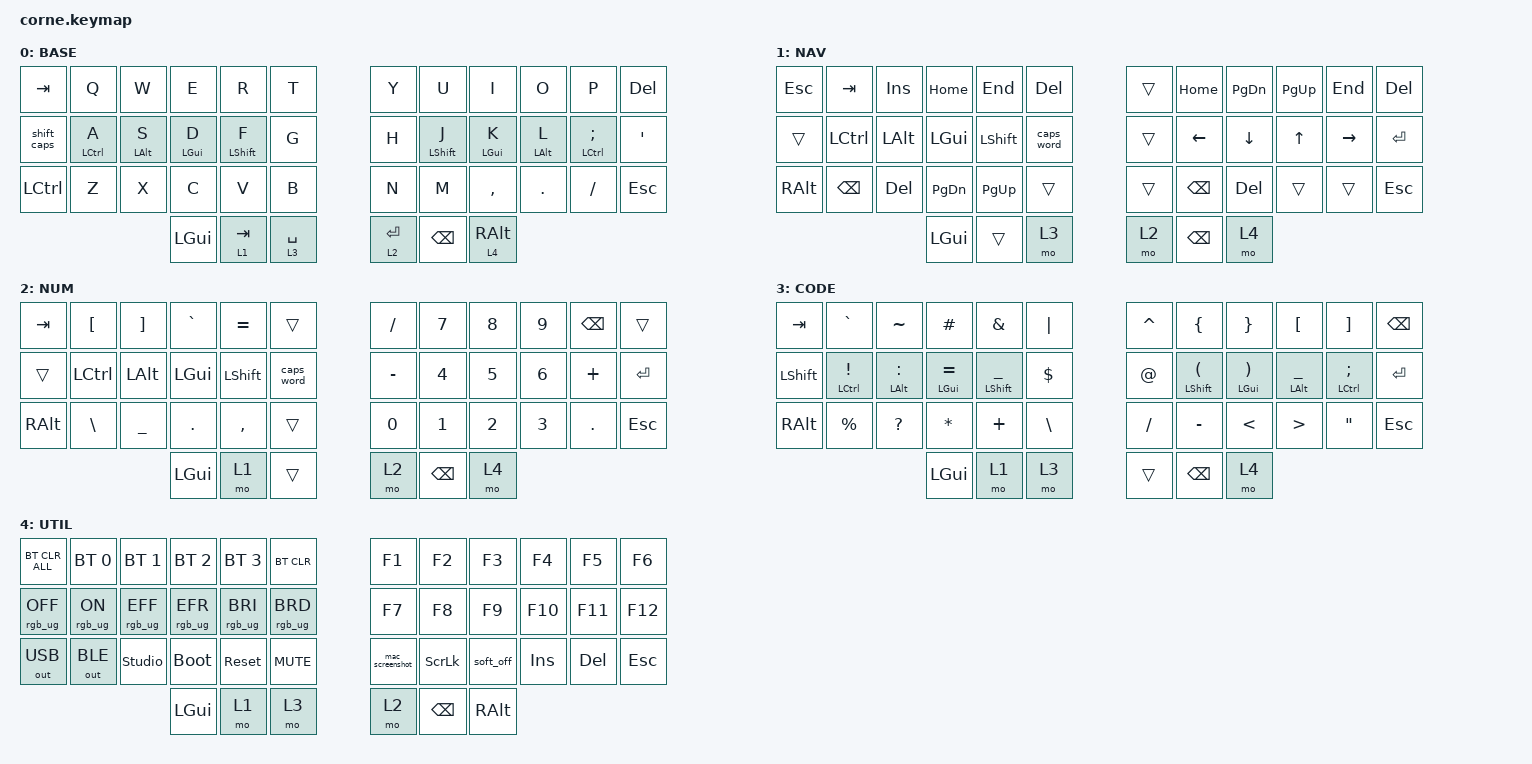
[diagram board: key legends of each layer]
/*
 * Copyright (c) 2020 The ZMK Contributors
 *
 * SPDX-License-Identifier: MIT
 */

#include <behaviors.dtsi>
#include <dt-bindings/zmk/bt.h>
#include <dt-bindings/zmk/keys.h>
#include <dt-bindings/zmk/outputs.h>
#include <dt-bindings/zmk/rgb.h>

/ {
    behaviors {
        shift_caps: shift_caps {
            compatible = "zmk,behavior-tap-dance";
            display-name = "Shift / Caps Lock";
            #binding-cells = <0>;
            bindings = <&kp LEFT_SHIFT>, <&kp CAPS>;
        };

        hrm_left: hrm_left {
            compatible = "zmk,behavior-hold-tap";
            display-name = "Home Row Mod Left";
            #binding-cells = <2>;
            flavor = "balanced";
            tapping-term-ms = <240>;
            quick-tap-ms = <175>;
            require-prior-idle-ms = <150>;
            bindings = <&kp>, <&kp>;
            hold-trigger-key-positions = <6 7 8 9 10 11 18 19 20 21 22 23 30 31 32 33 34 35 39 40 41>;
            hold-trigger-on-release;
        };

        hrm_right: hrm_right {
            compatible = "zmk,behavior-hold-tap";
            display-name = "Home Row Mod Right";
            #binding-cells = <2>;
            flavor = "balanced";
            tapping-term-ms = <240>;
            quick-tap-ms = <175>;
            require-prior-idle-ms = <150>;
            bindings = <&kp>, <&kp>;
            hold-trigger-key-positions = <0 1 2 3 4 5 12 13 14 15 16 17 24 25 26 27 28 29 36 37 38>;
            hold-trigger-on-release;
        };

        th_lt: th_lt {
            compatible = "zmk,behavior-hold-tap";
            display-name = "Thumb Layer Tap";
            #binding-cells = <2>;
            flavor = "tap-preferred";
            tapping-term-ms = <200>;
            quick-tap-ms = <150>;
            require-prior-idle-ms = <120>;
            bindings = <&mo>, <&kp>;
        };
    };

    macros {
        mac_screenshot: mac_screenshot {
            compatible = "zmk,behavior-macro";
            #binding-cells = <0>;
            wait-ms = <30>;
            tap-ms = <30>;
            bindings
                = <&macro_press &kp LGUI>
                , <&macro_press &kp LEFT_SHIFT>
                , <&macro_tap &kp N5>
                , <&macro_release &kp LEFT_SHIFT>
                , <&macro_release &kp LGUI>
                ;
        };
    };

    keymap {
        compatible = "zmk,keymap";

        base_layer {
            display-name = "BASE";
            bindings = <
&kp TAB      &kp Q                  &kp W                 &kp E                  &kp R                   &kp T        &kp Y                    &kp U                       &kp I                     &kp O                    &kp P                    &kp DEL
&shift_caps  &hrm_left LCTRL A      &hrm_left LALT S      &hrm_left LGUI D       &hrm_left LEFT_SHIFT F  &kp G        &kp H                    &hrm_right LEFT_SHIFT J     &hrm_right LGUI K         &hrm_right LALT L        &hrm_right LCTRL SEMI    &kp SQT
&kp LCTRL   &kp Z                  &kp X                 &kp C                  &kp V                   &kp B        &kp N                    &kp M                       &kp COMMA                 &kp DOT                  &kp FSLH                 &kp ESC
                                                          &kp LGUI               &th_lt 1 TAB            &th_lt 3 SPACE   &th_lt 2 ENTER      &kp BSPC                    &th_lt 4 RALT
            >;
        };

        nav_layer {
            display-name = "NAV";
            bindings = <
&kp ESC   &kp TAB    &kp INS   &kp HOME   &kp END        &kp DEL        &trans   &kp HOME   &kp PG_DN   &kp PG_UP   &kp END    &kp DEL
&trans    &kp LCTRL  &kp LALT  &kp LGUI   &kp LEFT_SHIFT &caps_word     &trans   &kp LEFT   &kp DOWN    &kp UP      &kp RIGHT  &kp RET
&kp RALT  &kp BSPC   &kp DEL   &kp PG_DN  &kp PG_UP      &trans         &trans   &kp BSPC   &kp DEL     &trans      &trans     &kp ESC
                               &kp LGUI   &trans          &mo 3          &mo 2    &kp BSPC   &mo 4
            >;
        };

        num_layer {
            display-name = "NUM";
            bindings = <
&kp TAB   &kp LBKT   &kp RBKT   &kp GRAVE   &kp EQUAL   &trans       &kp FSLH   &kp N7   &kp N8   &kp N9   &kp BSPC   &trans
&trans    &kp LCTRL  &kp LALT   &kp LGUI    &kp LEFT_SHIFT &caps_word &kp MINUS  &kp N4   &kp N5   &kp N6   &kp PLUS   &kp RET
&kp RALT  &kp BSLH   &kp UNDER  &kp DOT     &kp COMMA   &trans       &kp N0     &kp N1   &kp N2   &kp N3   &kp DOT    &kp ESC
                                &kp LGUI    &mo 1       &trans        &mo 2      &kp BSPC &mo 4
            >;
        };

        code_layer {
            display-name = "CODE";
            bindings = <
&kp TAB        &kp GRAVE                  &kp TILDE                 &kp HASH                   &kp AMPS                    &kp PIPE     &kp CARET   &kp LBRC                    &kp RBRC                  &kp LBKT                  &kp RBKT                   &kp BSPC
&kp LEFT_SHIFT &hrm_left LCTRL EXCL       &hrm_left LALT COLON      &hrm_left LGUI EQUAL       &hrm_left LEFT_SHIFT UNDER  &kp DLLR     &kp AT      &hrm_right LEFT_SHIFT LPAR  &hrm_right LGUI RPAR      &hrm_right LALT UNDER     &hrm_right LCTRL SEMI      &kp RET
&kp RALT       &kp PRCNT                  &kp QMARK                 &kp ASTRK                  &kp PLUS                    &kp BSLH     &kp FSLH    &kp MINUS                   &kp LT                    &kp GT                    &kp DQT                    &kp ESC
                                                                    &kp LGUI                   &mo 1                       &mo 3        &trans      &kp BSPC                    &mo 4
            >;
        };

        util_layer {
            display-name = "UTIL";
            bindings = <
&bt BT_CLR_ALL   &bt BT_SEL 0    &bt BT_SEL 1      &bt BT_SEL 2   &bt BT_SEL 3     &bt BT_CLR       &kp F1          &kp F2          &kp F3    &kp F4    &kp F5    &kp F6
&rgb_ug RGB_OFF  &rgb_ug RGB_ON  &rgb_ug RGB_EFF   &rgb_ug RGB_EFR &rgb_ug RGB_BRI  &rgb_ug RGB_BRD  &kp F7          &kp F8          &kp F9    &kp F10   &kp F11   &kp F12
&out OUT_USB     &out OUT_BLE    &studio_unlock    &bootloader    &sys_reset       &kp C_MUTE       &mac_screenshot &kp SCROLLLOCK  &soft_off &kp INS   &kp DEL   &kp ESC
                                                   &kp LGUI       &mo 1            &mo 3             &mo 2           &kp BSPC        &kp RALT
            >;
        };
    };
};
